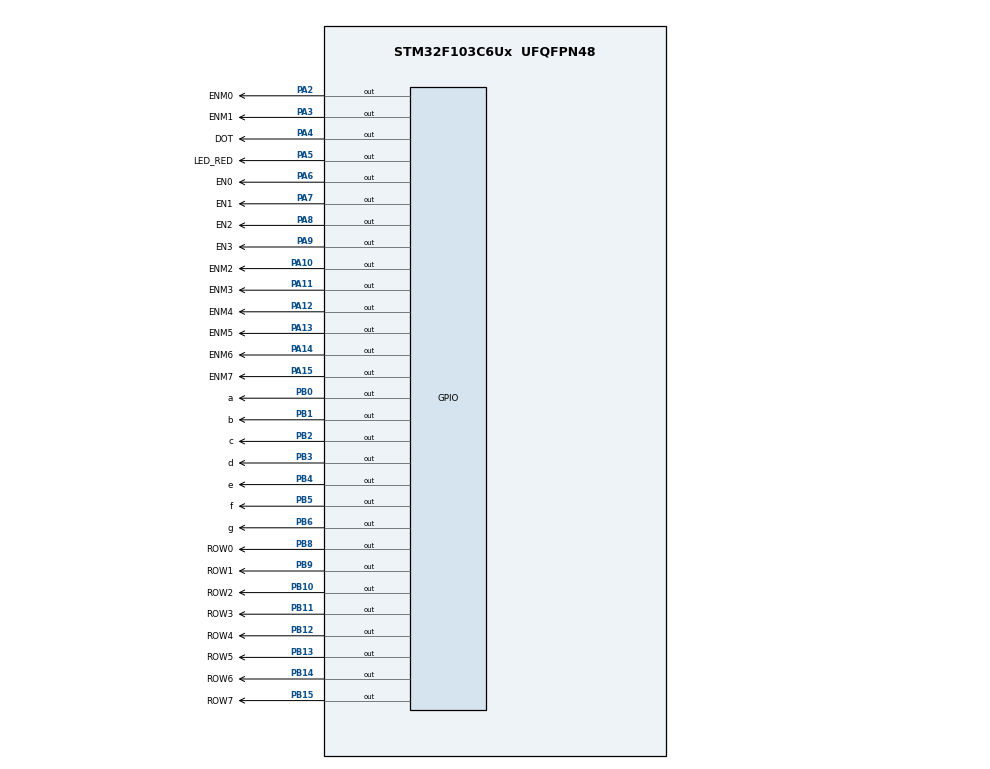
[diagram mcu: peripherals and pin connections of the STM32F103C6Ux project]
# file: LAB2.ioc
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Mcu.Family=STM32F1
Mcu.Name=STM32F103C6Ux
Mcu.Package=UFQFPN48
NVIC.PriorityGroup=NVIC_PRIORITYGROUP_4
NVIC.TIM2_IRQn=true\:0\:0\:false\:false\:true\:true\:true
PA10.GPIO_Label=ENM2
PA10.Signal=GPIO_Output
PA11.GPIO_Label=ENM3
PA11.Signal=GPIO_Output
PA12.GPIO_Label=ENM4
PA12.Signal=GPIO_Output
PA13.GPIO_Label=ENM5
PA13.Signal=GPIO_Output
PA14.GPIO_Label=ENM6
PA14.Signal=GPIO_Output
PA15.GPIO_Label=ENM7
PA15.Signal=GPIO_Output
PA2.GPIO_Label=ENM0
PA2.Signal=GPIO_Output
PA3.GPIO_Label=ENM1
PA3.Signal=GPIO_Output
PA4.GPIO_Label=DOT
PA4.Signal=GPIO_Output
PA5.GPIO_Label=LED_RED
PA5.Signal=GPIO_Output
PA6.GPIO_Label=EN0
PA6.Signal=GPIO_Output
PA7.GPIO_Label=EN1
PA7.Signal=GPIO_Output
PA8.GPIO_Label=EN2
PA8.Signal=GPIO_Output
PA9.GPIO_Label=EN3
PA9.Signal=GPIO_Output
PB0.GPIO_Label=a
PB0.Signal=GPIO_Output
PB1.GPIO_Label=b
PB1.Signal=GPIO_Output
PB10.GPIO_Label=ROW2
PB10.Signal=GPIO_Output
PB11.GPIO_Label=ROW3
PB11.Signal=GPIO_Output
PB12.GPIO_Label=ROW4
PB12.Signal=GPIO_Output
PB13.GPIO_Label=ROW5
PB13.Signal=GPIO_Output
PB14.GPIO_Label=ROW6
PB14.Signal=GPIO_Output
PB15.GPIO_Label=ROW7
PB15.Signal=GPIO_Output
PB2.GPIO_Label=c
PB2.Signal=GPIO_Output
PB3.GPIO_Label=d
PB3.Signal=GPIO_Output
PB4.GPIO_Label=e
PB4.Signal=GPIO_Output
PB5.GPIO_Label=f
PB5.Signal=GPIO_Output
PB6.GPIO_Label=g
PB6.Signal=GPIO_Output
PB8.GPIO_Label=ROW0
PB8.Signal=GPIO_Output
PB9.GPIO_Label=ROW1
PB9.Signal=GPIO_Output
ProjectManager.HeapSize=0x200
ProjectManager.StackSize=0x400
ProjectManager.TargetToolchain=STM32CubeIDE
RCC.APB1Freq_Value=8000000
RCC.APB2Freq_Value=8000000
TIM2.Period=10
TIM2.Prescaler=7999
VP_SYS_VS_ND.Mode=No_Debug
VP_TIM2_VS_ClockSourceINT.Mode=Internal
board=custom

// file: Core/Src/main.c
/* USER CODE BEGIN Header */
/**
  ******************************************************************************
  * @file           : main.c
  * @brief          : Main program body
  ******************************************************************************
  * @attention
  *
  * <h2><center>&copy; Copyright (c) 2022 STMicroelectronics.
  * All rights reserved.</center></h2>
  *
  * This software component is licensed by ST under BSD 3-Clause license,
  * the "License"; You may not use this file except in compliance with the
  * License. You may obtain a copy of the License at:
  *                        opensource.org/licenses/BSD-3-Clause
  *
  ******************************************************************************
  */
/* USER CODE END Header */
#include "main.h"
#include "software_timer.h"

TIM_HandleTypeDef htim2;

void SystemClock_Config(void);
static void MX_GPIO_Init(void);
static void MX_TIM2_Init(void);

/* USER CODE BEGIN 0 */
  int hour = 23, minute = 58, second = 55;
  void display7SEG(int num);
  const int MAX_LED = 4;
  int index_led = 0;
  int led_buffer [4] = {1, 2, 3, 4};
  void update7SEG ( int index ){
  switch ( index ){
  	  case 0:{
  		  HAL_GPIO_WritePin(GPIOA, EN0_Pin, 0);
  		  HAL_GPIO_WritePin(GPIOA, EN1_Pin|EN2_Pin|EN3_Pin,1);
  		  display7SEG(led_buffer[0]);
		  break ;
  	  }
  	  case 1:{
  		  HAL_GPIO_WritePin(GPIOA, EN1_Pin, 0);
  		  HAL_GPIO_WritePin(GPIOA, EN0_Pin|EN2_Pin|EN3_Pin,1);
  		  display7SEG(led_buffer[1]);
		  break ;
  	  }
  	  case 2:{
  		  HAL_GPIO_WritePin(GPIOA, EN2_Pin, 0);
  		  HAL_GPIO_WritePin(GPIOA, EN0_Pin|EN1_Pin|EN3_Pin,1);
  		  display7SEG(led_buffer[2]);
		  break ;
  	  }
  	  case 3:{
  		  HAL_GPIO_WritePin(GPIOA, EN3_Pin, 0);
  		  HAL_GPIO_WritePin(GPIOA, EN0_Pin|EN2_Pin|EN1_Pin,1);
  		  display7SEG(led_buffer[3]);
		  break ;
  	  }
  	  default :
  		  break ;
  	  }
  }
  const int MAX_LED_MATRIX = 8;
  int index_led_matrix = 0;
  uint8_t matrix_buffer[8] = {0xff, 0x03, 0x01, 0xcc, 0xcc, 0x01, 0x03, 0xff};
  void updateLEDMatrix (int index ){
	  switch(index){
	  	  case 0:
	  		  GPIOA->ODR = 0xfffb;
	  		  GPIOB->ODR = matrix_buffer[0] << 8;
			  break ;
	  	  case 1:
	  		  GPIOA->ODR = 0xfff7;
	  		  GPIOB->ODR = matrix_buffer[1] << 8;
	  		  break ;
	  	  case 2:
	  		  GPIOA->ODR = 0xfbff;
	  		  GPIOB->ODR = matrix_buffer[2] << 8;
	  		  break ;
	  	  case 3:
	  		  GPIOA->ODR = 0xf7ff;
	  		  GPIOB->ODR = matrix_buffer[3] << 8;
	  		  break ;
	  	  case 4:
	  		  GPIOA->ODR = 0xefff;
	  		  GPIOB->ODR = matrix_buffer[4] << 8;
	  		  break ;
	  	  case 5:
	  		  GPIOA->ODR = 0xdfff;
	  		  GPIOB->ODR = matrix_buffer[5] << 8;
	  		  break ;
	  	  case 6:
	  		  GPIOA->ODR = 0xbfff;
	  		  GPIOB->ODR = matrix_buffer[6] << 8;
	  		  break ;
	  	  case 7:
	  		  GPIOA->ODR = 0x7fff;
	  		  GPIOB->ODR = matrix_buffer[7] << 8;
	  		  break ;
	  	  default :
	  		  break ;
	  }
  }
  void updateClockBuffer(){
  	led_buffer[0] = (int) hour/10;
  	led_buffer[1] = hour%10;
  	led_buffer[2] = (int) minute/10;
  	led_buffer[3] = minute%10;
  }
  void updateLEDMatrixBuffer(){
	  uint8_t temp = matrix_buffer[7];
	  matrix_buffer[7] = matrix_buffer[6];
	  matrix_buffer[6] = matrix_buffer[5];
	  matrix_buffer[5] = matrix_buffer[4];
	  matrix_buffer[4] = matrix_buffer[3];
	  matrix_buffer[3] = matrix_buffer[2];
	  matrix_buffer[2] = matrix_buffer[1];
	  matrix_buffer[1] = matrix_buffer[0];
	  matrix_buffer[0] = temp;
  }
/* USER CODE END 0 */

int main(void)
{

  /* MCU Configuration--------------------------------------------------------*/

  /* Reset of all peripherals, Initializes the Flash interface and the Systick. */
  HAL_Init();

  /* Configure the system clock */
  SystemClock_Config();

  /* Initialize all configured peripherals */
  MX_GPIO_Init();
  MX_TIM2_Init();
  /* USER CODE BEGIN 2 */
  HAL_TIM_Base_Start_IT(&htim2);
  /* USER CODE END 2 */

  /* Infinite loop */
  /* USER CODE BEGIN WHILE */
  setTimer1(0);
  while (1)
  {
    /* USER CODE END WHILE */
	if(timer1_flag == 1){
		updateLEDMatrix(index_led_matrix++);
		if(index_led_matrix > 7){
			updateLEDMatrixBuffer();
			index_led_matrix = 0;
		}
		setTimer1(10);
	}
  }
}

void SystemClock_Config(void)
{
  RCC_OscInitTypeDef RCC_OscInitStruct = {0};
  RCC_ClkInitTypeDef RCC_ClkInitStruct = {0};

  /** Initializes the RCC Oscillators according to the specified parameters
  * in the RCC_OscInitTypeDef structure.
  */
  RCC_OscInitStruct.OscillatorType = RCC_OSCILLATORTYPE_HSI;
  RCC_OscInitStruct.HSIState = RCC_HSI_ON;
  RCC_OscInitStruct.HSICalibrationValue = RCC_HSICALIBRATION_DEFAULT;
  RCC_OscInitStruct.PLL.PLLState = RCC_PLL_NONE;
  if (HAL_RCC_OscConfig(&RCC_OscInitStruct) != HAL_OK)
  {
    Error_Handler();
  }
  /** Initializes the CPU, AHB and APB buses clocks
  */
  RCC_ClkInitStruct.ClockType = RCC_CLOCKTYPE_HCLK|RCC_CLOCKTYPE_SYSCLK
                              |RCC_CLOCKTYPE_PCLK1|RCC_CLOCKTYPE_PCLK2;
  RCC_ClkInitStruct.SYSCLKSource = RCC_SYSCLKSOURCE_HSI;
  RCC_ClkInitStruct.AHBCLKDivider = RCC_SYSCLK_DIV1;
  RCC_ClkInitStruct.APB1CLKDivider = RCC_HCLK_DIV1;
  RCC_ClkInitStruct.APB2CLKDivider = RCC_HCLK_DIV1;

  if (HAL_RCC_ClockConfig(&RCC_ClkInitStruct, FLASH_LATENCY_0) != HAL_OK)
  {
    Error_Handler();
  }
}

static void MX_TIM2_Init(void)
{

  TIM_ClockConfigTypeDef sClockSourceConfig = {0};
  TIM_MasterConfigTypeDef sMasterConfig = {0};

  htim2.Instance = TIM2;
  htim2.Init.Prescaler = 7999;
  htim2.Init.CounterMode = TIM_COUNTERMODE_UP;
  htim2.Init.Period = 10;
  htim2.Init.ClockDivision = TIM_CLOCKDIVISION_DIV1;
  htim2.Init.AutoReloadPreload = TIM_AUTORELOAD_PRELOAD_DISABLE;
  if (HAL_TIM_Base_Init(&htim2) != HAL_OK)
  {
    Error_Handler();
  }
  sClockSourceConfig.ClockSource = TIM_CLOCKSOURCE_INTERNAL;
  if (HAL_TIM_ConfigClockSource(&htim2, &sClockSourceConfig) != HAL_OK)
  {
    Error_Handler();
  }
  sMasterConfig.MasterOutputTrigger = TIM_TRGO_RESET;
  sMasterConfig.MasterSlaveMode = TIM_MASTERSLAVEMODE_DISABLE;
  if (HAL_TIMEx_MasterConfigSynchronization(&htim2, &sMasterConfig) != HAL_OK)
  {
    Error_Handler();
  }

}

static void MX_GPIO_Init(void)
{
  GPIO_InitTypeDef GPIO_InitStruct = {0};

  /* GPIO Ports Clock Enable */
  __HAL_RCC_GPIOA_CLK_ENABLE();
  __HAL_RCC_GPIOB_CLK_ENABLE();

  /*Configure GPIO pin Output Level */
  HAL_GPIO_WritePin(GPIOA, ENM0_Pin|ENM1_Pin|DOT_Pin|LED_RED_Pin
                          |EN0_Pin|EN1_Pin|EN2_Pin|EN3_Pin
                          |ENM2_Pin|ENM3_Pin|ENM4_Pin|ENM5_Pin
                          |ENM6_Pin|ENM7_Pin, GPIO_PIN_RESET);

  /*Configure GPIO pin Output Level */
  HAL_GPIO_WritePin(GPIOB, a_Pin|b_Pin|c_Pin|ROW2_Pin
                          |ROW3_Pin|ROW4_Pin|ROW5_Pin|ROW6_Pin
                          |ROW7_Pin|d_Pin|e_Pin|f_Pin
                          |g_Pin|ROW0_Pin|ROW1_Pin, GPIO_PIN_RESET);

  /*Configure GPIO pins : ENM0_Pin ENM1_Pin DOT_Pin LED_RED_Pin
                           EN0_Pin EN1_Pin EN2_Pin EN3_Pin
                           ENM2_Pin ENM3_Pin ENM4_Pin ENM5_Pin
                           ENM6_Pin ENM7_Pin */
  GPIO_InitStruct.Pin = ENM0_Pin|ENM1_Pin|DOT_Pin|LED_RED_Pin
                          |EN0_Pin|EN1_Pin|EN2_Pin|EN3_Pin
                          |ENM2_Pin|ENM3_Pin|ENM4_Pin|ENM5_Pin
                          |ENM6_Pin|ENM7_Pin;
  GPIO_InitStruct.Mode = GPIO_MODE_OUTPUT_PP;
  GPIO_InitStruct.Pull = GPIO_NOPULL;
  GPIO_InitStruct.Speed = GPIO_SPEED_FREQ_LOW;
  HAL_GPIO_Init(GPIOA, &GPIO_InitStruct);

  /*Configure GPIO pins : a_Pin b_Pin c_Pin ROW2_Pin
                           ROW3_Pin ROW4_Pin ROW5_Pin ROW6_Pin
                           ROW7_Pin d_Pin e_Pin f_Pin
                           g_Pin ROW0_Pin ROW1_Pin */
  GPIO_InitStruct.Pin = a_Pin|b_Pin|c_Pin|ROW2_Pin
                          |ROW3_Pin|ROW4_Pin|ROW5_Pin|ROW6_Pin
                          |ROW7_Pin|d_Pin|e_Pin|f_Pin
                          |g_Pin|ROW0_Pin|ROW1_Pin;
  GPIO_InitStruct.Mode = GPIO_MODE_OUTPUT_PP;
  GPIO_InitStruct.Pull = GPIO_NOPULL;
  GPIO_InitStruct.Speed = GPIO_SPEED_FREQ_LOW;
  HAL_GPIO_Init(GPIOB, &GPIO_InitStruct);

}

/* USER CODE BEGIN 4 */
void HAL_TIM_PeriodElapsedCallback ( TIM_HandleTypeDef * htim )
{
	timerRun();
}
void display7SEG(int num){
	if(num == 0){
		HAL_GPIO_WritePin(GPIOB, a_Pin|b_Pin|c_Pin|d_Pin|e_Pin|f_Pin, 0);
		HAL_GPIO_WritePin(GPIOB, g_Pin, 1);
	}
	else if(num == 1){
		HAL_GPIO_WritePin(GPIOB, b_Pin|c_Pin, 0);
		HAL_GPIO_WritePin(GPIOB, a_Pin|g_Pin|d_Pin|e_Pin|f_Pin, 1);
	}
	else if(num == 2){
		HAL_GPIO_WritePin(GPIOB, a_Pin|g_Pin|d_Pin|e_Pin|b_Pin, 0);
		HAL_GPIO_WritePin(GPIOB, f_Pin|c_Pin, 1);
	}
	else if(num == 3){
		HAL_GPIO_WritePin(GPIOB, a_Pin|g_Pin|d_Pin|b_Pin|c_Pin, 0);
		HAL_GPIO_WritePin(GPIOB, e_Pin|f_Pin, 1);
	}
	else if(num == 4){
		HAL_GPIO_WritePin(GPIOB, f_Pin|b_Pin|c_Pin|g_Pin, 0);
		HAL_GPIO_WritePin(GPIOB, a_Pin|d_Pin|e_Pin, 1);
	}
	else if(num == 5){
		HAL_GPIO_WritePin(GPIOB, a_Pin|g_Pin|d_Pin|f_Pin|c_Pin, 0);
		HAL_GPIO_WritePin(GPIOB, e_Pin|b_Pin, 1);
	}
	else if(num == 6){
		HAL_GPIO_WritePin(GPIOB, a_Pin|g_Pin|d_Pin|e_Pin|f_Pin|c_Pin, 0);
		HAL_GPIO_WritePin(GPIOB, b_Pin, 1);
	}
	else if(num == 7){
		HAL_GPIO_WritePin(GPIOB, a_Pin|b_Pin|c_Pin, 0);
		HAL_GPIO_WritePin(GPIOB, g_Pin|d_Pin|e_Pin|f_Pin, 1);
	}
	else if(num == 8){
		HAL_GPIO_WritePin(GPIOB, a_Pin|g_Pin|d_Pin|e_Pin|f_Pin|b_Pin|c_Pin, 0);
	}
	else if(num == 9){
		HAL_GPIO_WritePin(GPIOB, a_Pin|g_Pin|d_Pin|b_Pin|c_Pin|f_Pin|b_Pin, 0);
		HAL_GPIO_WritePin(GPIOB, e_Pin, 1);
	}
}
/* USER CODE END 4 */

void Error_Handler(void)
{
  __disable_irq();
  while (1)
  {
  }
}

/************************ (C) COPYRIGHT STMicroelectronics *****END OF FILE****/
